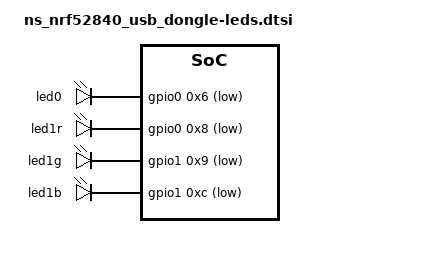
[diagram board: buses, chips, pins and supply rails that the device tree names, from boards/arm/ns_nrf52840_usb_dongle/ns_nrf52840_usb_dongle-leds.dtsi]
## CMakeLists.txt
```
#
# gp-nrf-ble-blinky
# Copyright (c) 2023, Greg PFISTER. MIT Licennse
#
# THE SOFTWARE IS PROVIDED "AS IS", WITHOUT WARRANTY OF ANY KIND, EXPRESS OR
# IMPLIED, INCLUDING BUT NOT LIMITED TO THE WARRANTIES OF MERCHANTABILITY,
# FITNESS FOR A PARTICULAR PURPOSE AND NONINFRINGEMENT.IN NO EVENT SHALL THE
# AUTHORS OR COPYRIGHT HOLDERS BE LIABLE FOR ANY CLAIM, DAMAGES OR OTHER
# LIABILITY, WHETHER IN AN ACTION OF CONTRACT, TORT OR OTHERWISE, ARISING FROM,
# OUT OF OR IN CONNECTION WITH THE SOFTWARE OR THE USE OR OTHER DEALINGS IN THE
# SOFTWARE.
#

zephyr_include_directories(include)

add_subdirectory(drivers)
add_subdirectory(lib)
```

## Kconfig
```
#
# gp-nrf-ble-blinky
# Copyright (c) 2023, Greg PFISTER. MIT Licennse
#
# THE SOFTWARE IS PROVIDED "AS IS", WITHOUT WARRANTY OF ANY KIND, EXPRESS OR
# IMPLIED, INCLUDING BUT NOT LIMITED TO THE WARRANTIES OF MERCHANTABILITY,
# FITNESS FOR A PARTICULAR PURPOSE AND NONINFRINGEMENT.IN NO EVENT SHALL THE
# AUTHORS OR COPYRIGHT HOLDERS BE LIABLE FOR ANY CLAIM, DAMAGES OR OTHER
# LIABILITY, WHETHER IN AN ACTION OF CONTRACT, TORT OR OTHERWISE, ARISING FROM,
# OUT OF OR IN CONNECTION WITH THE SOFTWARE OR THE USE OR OTHER DEALINGS IN THE
# SOFTWARE.
#

rsource "drivers/Kconfig"
rsource "lib/Kconfig"
```

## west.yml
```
#
# gp-nrf-ble-blinky
# Copyright (c) 2023, Greg PFISTER. MIT Licennse
#
# THE SOFTWARE IS PROVIDED "AS IS", WITHOUT WARRANTY OF ANY KIND, EXPRESS OR
# IMPLIED, INCLUDING BUT NOT LIMITED TO THE WARRANTIES OF MERCHANTABILITY,
# FITNESS FOR A PARTICULAR PURPOSE AND NONINFRINGEMENT.IN NO EVENT SHALL THE
# AUTHORS OR COPYRIGHT HOLDERS BE LIABLE FOR ANY CLAIM, DAMAGES OR OTHER
# LIABILITY, WHETHER IN AN ACTION OF CONTRACT, TORT OR OTHERWISE, ARISING FROM,
# OUT OF OR IN CONNECTION WITH THE SOFTWARE OR THE USE OR OTHER DEALINGS IN THE
# SOFTWARE.
#

manifest:
  version: 1.0

  self:
    path: app
    # west-commands: 
    # west-commands: scripts/west-commands.yml
    
  remotes:
    - name: ncs
      url-base: https://github.com/nrfconnect

  projects:
    - name: nrf
      remote: ncs
      repo-path: sdk-nrf
      revision: v2.5.0
      import: true
```

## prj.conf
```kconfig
#
# gp-nrf52840-ble-blinky
# Copyright (c) 2023, Greg PFISTER. MIT Licennse
#
# THE SOFTWARE IS PROVIDED "AS IS", WITHOUT WARRANTY OF ANY KIND, EXPRESS OR
# IMPLIED, INCLUDING BUT NOT LIMITED TO THE WARRANTIES OF MERCHANTABILITY,
# FITNESS FOR A PARTICULAR PURPOSE AND NONINFRINGEMENT.IN NO EVENT SHALL THE
# AUTHORS OR COPYRIGHT HOLDERS BE LIABLE FOR ANY CLAIM, DAMAGES OR OTHER
# LIABILITY, WHETHER IN AN ACTION OF CONTRACT, TORT OR OTHERWISE, ARISING FROM,
# OUT OF OR IN CONNECTION WITH THE SOFTWARE OR THE USE OR OTHER DEALINGS IN THE
# SOFTWARE.
#

# Led controller module
# CONFIG_BLE_CONTROLLER=y
# CONFIG_LED_CONTROLLER=y

# GPIO
CONFIG_GPIO=y

# Logging
CONFIG_LOG=y
CONFIG_LOG_BACKEND_RTT=y
CONFIG_LOG_BACKEND_UART=y

# Debugging
CONFIG_ASSERT=y

# Enable Bluetooth
CONFIG_BT=y
CONFIG_BT_PERIPHERAL=y
CONFIG_BT_DEVICE_NAME="Greg's nRF52840 Blinky"
CONFIG_BT_DEVICE_APPEARANCE=0
CONFIG_BT_MAX_CONN=1
CONFIG_BT_LL_SOFTDEVICE=y
CONFIG_BT_LOG_LEVEL_OFF=y

# Random number
CONFIG_ENTROPY_DEVICE_RANDOM_GENERATOR=y
```

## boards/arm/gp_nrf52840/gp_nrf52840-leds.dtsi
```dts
//
// gp-nrf-ble-blinky
// Copyright (c) 2023, Greg PFISTER. MIT Licennse
//
// THE SOFTWARE IS PROVIDED "AS IS", WITHOUT WARRANTY OF ANY KIND, EXPRESS OR
// IMPLIED, INCLUDING BUT NOT LIMITED TO THE WARRANTIES OF MERCHANTABILITY,
// FITNESS FOR A PARTICULAR PURPOSE AND NONINFRINGEMENT.IN NO EVENT SHALL THE
// AUTHORS OR COPYRIGHT HOLDERS BE LIABLE FOR ANY CLAIM, DAMAGES OR OTHER
// LIABILITY, WHETHER IN AN ACTION OF CONTRACT, TORT OR OTHERWISE, ARISING FROM,
// OUT OF OR IN CONNECTION WITH THE SOFTWARE OR THE USE OR OTHER DEALINGS IN THE
// SOFTWARE.
//

/ {

	aliases {
		ledblinky = &led0;
		ledble = &led1;
	};

	leds {
		compatible = "gpio-leds";
        led0: led_0 { // The blinky led
            gpios = < &gpio0 0xd 0x1 >;
        };
        led1: led_1 {
            gpios = < &gpio0 0xe 0x1 >;// The BT status led
        };

    };
};
```

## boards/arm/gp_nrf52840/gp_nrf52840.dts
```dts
//
// gp-nrf-ble-blinky
// Copyright (c) 2023, Greg PFISTER. MIT Licennse
//
// THE SOFTWARE IS PROVIDED "AS IS", WITHOUT WARRANTY OF ANY KIND, EXPRESS OR
// IMPLIED, INCLUDING BUT NOT LIMITED TO THE WARRANTIES OF MERCHANTABILITY,
// FITNESS FOR A PARTICULAR PURPOSE AND NONINFRINGEMENT.IN NO EVENT SHALL THE
// AUTHORS OR COPYRIGHT HOLDERS BE LIABLE FOR ANY CLAIM, DAMAGES OR OTHER
// LIABILITY, WHETHER IN AN ACTION OF CONTRACT, TORT OR OTHERWISE, ARISING FROM,
// OUT OF OR IN CONNECTION WITH THE SOFTWARE OR THE USE OR OTHER DEALINGS IN THE
// SOFTWARE.
//

/dts-v1/;
#include <nordic/nrf52840_qiaa.dtsi>
#include "ns_nrf52840_dk-leds.dtsi"

/ {
	model = "Greg's nRF52840";
	compatible = "nordic,nrf52840dk_nrf52840";

	chosen {
		zephyr,console = &uart0;
		zephyr,shell-uart = &uart0;
		zephyr,uart-mcumgr = &uart0;
		zephyr,bt-mon-uart = &uart0;
		zephyr,bt-c2h-uart = &uart0;
		zephyr,sram = &sram0;
		zephyr,flash = &flash0;
		zephyr,code-partition = &slot0_partition;
		zephyr,ieee802154 = &ieee802154;
	};
};

&gpio0 {
	status = "okay";
};


&flash0 {
	partitions {
		compatible = "fixed-partitions";
		#address-cells = <1>;
		#size-cells = <1>;

		boot_partition: partition@0 {
			label = "mcuboot";
			reg = <0x0 0xc000>;
		};
		slot0_partition: partition@c000 {
			label = "image-0";
			reg = <0xc000 0x72000>;
		};
		slot1_partition: partition@7e000 {
			label = "image-1";
			reg = <0x7e000 0x72000>;
		};
		scratch_partition: partition@f0000 {
			label = "image-scratch";
			reg = <0xf0000 0xa000>;
		};
		storage_partition: partition@fa000 {
			label = "storage";
			reg = <0xfa000 0x6000>;
		};
	};
};
```

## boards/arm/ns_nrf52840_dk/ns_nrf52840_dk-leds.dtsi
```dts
//
// gp-nrf-ble-blinky
// Copyright (c) 2023, Greg PFISTER. MIT Licennse
//
// THE SOFTWARE IS PROVIDED "AS IS", WITHOUT WARRANTY OF ANY KIND, EXPRESS OR
// IMPLIED, INCLUDING BUT NOT LIMITED TO THE WARRANTIES OF MERCHANTABILITY,
// FITNESS FOR A PARTICULAR PURPOSE AND NONINFRINGEMENT.IN NO EVENT SHALL THE
// AUTHORS OR COPYRIGHT HOLDERS BE LIABLE FOR ANY CLAIM, DAMAGES OR OTHER
// LIABILITY, WHETHER IN AN ACTION OF CONTRACT, TORT OR OTHERWISE, ARISING FROM,
// OUT OF OR IN CONNECTION WITH THE SOFTWARE OR THE USE OR OTHER DEALINGS IN THE
// SOFTWARE.
//

/ {

	aliases {
		ledblinky = &led0;
		ledbtstatus = &led1;
	};

	leds {
		compatible = "gpio-leds";
        led0: led_0 { // The blinky led
            gpios = < &gpio0 0xd 0x1 >;
        };
        led1: led_1 {
            gpios = < &gpio0 0xe 0x1 >;// The BT status led
        };

    };
};
```

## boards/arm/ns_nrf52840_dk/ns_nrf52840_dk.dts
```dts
//
// gp-nrf-ble-blinky
// Copyright (c) 2023, Greg PFISTER. MIT Licennse
//
// THE SOFTWARE IS PROVIDED "AS IS", WITHOUT WARRANTY OF ANY KIND, EXPRESS OR
// IMPLIED, INCLUDING BUT NOT LIMITED TO THE WARRANTIES OF MERCHANTABILITY,
// FITNESS FOR A PARTICULAR PURPOSE AND NONINFRINGEMENT.IN NO EVENT SHALL THE
// AUTHORS OR COPYRIGHT HOLDERS BE LIABLE FOR ANY CLAIM, DAMAGES OR OTHER
// LIABILITY, WHETHER IN AN ACTION OF CONTRACT, TORT OR OTHERWISE, ARISING FROM,
// OUT OF OR IN CONNECTION WITH THE SOFTWARE OR THE USE OR OTHER DEALINGS IN THE
// SOFTWARE.
//

/dts-v1/;
#include <nordic/nrf52840_qiaa.dtsi>
#include "ns_nrf52840_dk-leds.dtsi"

/ {
	model = "NS nRF52840 DK";
	compatible = "nordic,nrf52840dk_nrf52840";

	chosen {
		zephyr,console = &uart0;
		zephyr,shell-uart = &uart0;
		zephyr,uart-mcumgr = &uart0;
		zephyr,bt-mon-uart = &uart0;
		zephyr,bt-c2h-uart = &uart0;
		zephyr,sram = &sram0;
		zephyr,flash = &flash0;
		zephyr,code-partition = &slot0_partition;
		zephyr,ieee802154 = &ieee802154;
	};
};

&gpio0 {
	status = "okay";
};


&flash0 {
	partitions {
		compatible = "fixed-partitions";
		#address-cells = <1>;
		#size-cells = <1>;

		boot_partition: partition@0 {
			label = "mcuboot";
			reg = <0x0 0xc000>;
		};
		slot0_partition: partition@c000 {
			label = "image-0";
			reg = <0xc000 0x72000>;
		};
		slot1_partition: partition@7e000 {
			label = "image-1";
			reg = <0x7e000 0x72000>;
		};
		scratch_partition: partition@f0000 {
			label = "image-scratch";
			reg = <0xf0000 0xa000>;
		};
		storage_partition: partition@fa000 {
			label = "storage";
			reg = <0xfa000 0x6000>;
		};
	};
};
```

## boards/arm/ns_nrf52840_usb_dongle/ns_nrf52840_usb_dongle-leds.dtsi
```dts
//
// gp-nrf-ble-blinky
// Copyright (c) 2023, Greg PFISTER. MIT Licennse
//
// THE SOFTWARE IS PROVIDED "AS IS", WITHOUT WARRANTY OF ANY KIND, EXPRESS OR
// IMPLIED, INCLUDING BUT NOT LIMITED TO THE WARRANTIES OF MERCHANTABILITY,
// FITNESS FOR A PARTICULAR PURPOSE AND NONINFRINGEMENT.IN NO EVENT SHALL THE
// AUTHORS OR COPYRIGHT HOLDERS BE LIABLE FOR ANY CLAIM, DAMAGES OR OTHER
// LIABILITY, WHETHER IN AN ACTION OF CONTRACT, TORT OR OTHERWISE, ARISING FROM,
// OUT OF OR IN CONNECTION WITH THE SOFTWARE OR THE USE OR OTHER DEALINGS IN THE
// SOFTWARE.
//

/ {

	aliases {
		ledblinky = &led0;
		ledbtstatusr = &led1r;
		ledbtstatusg = &led1g;
		ledbtstatusb = &led1b;
	};

	leds {
		compatible = "gpio-leds";
        led0: led_0 { // The blinky led
            gpios = < &gpio0 0x6 0x1 >;
        };
        led1r: led_1r {
            gpios = < &gpio0 0x8 0x1 >;// The BT status led
        };
        led1g: led_1g {
            gpios = < &gpio1 0x9 0x1 >;// The BT status led
        };
        led1b: led_1b {
            gpios = < &gpio1 0xc 0x1 >;// The BT status led
        };

    };
};
```

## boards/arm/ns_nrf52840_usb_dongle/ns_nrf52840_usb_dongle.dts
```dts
//
// gp-nrf-ble-blinky
// Copyright (c) 2023, Greg PFISTER. MIT Licennse
//
// THE SOFTWARE IS PROVIDED "AS IS", WITHOUT WARRANTY OF ANY KIND, EXPRESS OR
// IMPLIED, INCLUDING BUT NOT LIMITED TO THE WARRANTIES OF MERCHANTABILITY,
// FITNESS FOR A PARTICULAR PURPOSE AND NONINFRINGEMENT.IN NO EVENT SHALL THE
// AUTHORS OR COPYRIGHT HOLDERS BE LIABLE FOR ANY CLAIM, DAMAGES OR OTHER
// LIABILITY, WHETHER IN AN ACTION OF CONTRACT, TORT OR OTHERWISE, ARISING FROM,
// OUT OF OR IN CONNECTION WITH THE SOFTWARE OR THE USE OR OTHER DEALINGS IN THE
// SOFTWARE.
//

/dts-v1/;
#include <nordic/nrf52840_qiaa.dtsi>
#include "ns_nrf52840_usb_dongle-leds.dtsi"

/ {
	model = "NS nRF52840 USB Dongle";
	compatible = "nordic-semiconductor,ns-nrf52840-usb-dongle";

	chosen {
		zephyr,console = &uart0;
		zephyr,shell-uart = &uart0;
		zephyr,uart-mcumgr = &uart0;
		zephyr,bt-mon-uart = &uart0;
		zephyr,bt-c2h-uart = &uart0;
		zephyr,sram = &sram0;
		zephyr,flash = &flash0;
		zephyr,code-partition = &slot0_partition;
		zephyr,ieee802154 = &ieee802154;
	};
};

&gpio0 {
	status = "okay";
};

&gpio1 {
	status = "okay";
};

&flash0 {
	partitions {
		compatible = "fixed-partitions";
		#address-cells = <1>;
		#size-cells = <1>;

		boot_partition: partition@0 {
			label = "mcuboot";
			reg = <0x0 0xc000>;
		};
		slot0_partition: partition@c000 {
			label = "image-0";
			reg = <0xc000 0x72000>;
		};
		slot1_partition: partition@7e000 {
			label = "image-1";
			reg = <0x7e000 0x72000>;
		};
		scratch_partition: partition@f0000 {
			label = "image-scratch";
			reg = <0xf0000 0xa000>;
		};
		storage_partition: partition@fa000 {
			label = "storage";
			reg = <0xfa000 0x6000>;
		};
	};
};
```

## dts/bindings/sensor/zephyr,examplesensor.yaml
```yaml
#
# gp-nrf-ble-blinky
# Copyright (c) 2023, Greg PFISTER. MIT Licennse
#
# THE SOFTWARE IS PROVIDED "AS IS", WITHOUT WARRANTY OF ANY KIND, EXPRESS OR
# IMPLIED, INCLUDING BUT NOT LIMITED TO THE WARRANTIES OF MERCHANTABILITY,
# FITNESS FOR A PARTICULAR PURPOSE AND NONINFRINGEMENT.IN NO EVENT SHALL THE
# AUTHORS OR COPYRIGHT HOLDERS BE LIABLE FOR ANY CLAIM, DAMAGES OR OTHER
# LIABILITY, WHETHER IN AN ACTION OF CONTRACT, TORT OR OTHERWISE, ARISING FROM,
# OUT OF OR IN CONNECTION WITH THE SOFTWARE OR THE USE OR OTHER DEALINGS IN THE
# SOFTWARE.
#

description: |
  An example sensor that reads the GPIO level defined in input-gpios. The
  purpose of this sensor is to demonstrate how to create out-of-tree drivers.

  Example definition in devicetree:

    examplesensor {
        compatible = "zephyr,examplesensor";
        input-gpios = <&gpio0 0 (GPIO_PULL_UP | GPIO_ACTIVE_LOW)>;
    };

compatible: "zephyr,examplesensor"

include: base.yaml

properties:
  input-gpios:
    type: phandle-array
    required: true
    description: Input GPIO to be sensed.
```

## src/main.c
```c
//
// gp-nrf52840-ble-blinky
// Copyright (c) 2023, Greg PFISTER. MIT Licennse
//
// THE SOFTWARE IS PROVIDED "AS IS", WITHOUT WARRANTY OF ANY KIND, EXPRESS OR
// IMPLIED, INCLUDING BUT NOT LIMITED TO THE WARRANTIES OF MERCHANTABILITY,
// FITNESS FOR A PARTICULAR PURPOSE AND NONINFRINGEMENT.IN NO EVENT SHALL THE
// AUTHORS OR COPYRIGHT HOLDERS BE LIABLE FOR ANY CLAIM, DAMAGES OR OTHER
// LIABILITY, WHETHER IN AN ACTION OF CONTRACT, TORT OR OTHERWISE, ARISING FROM,
// OUT OF OR IN CONNECTION WITH THE SOFTWARE OR THE USE OR OTHER DEALINGS IN THE
// SOFTWARE.
//

#include <zephyr/kernel.h>
#include <zephyr/logging/log.h>

#include <app_version.h>

// #include <ble_controller/ble_controller.h>
// #include <led_controller/led_controller.h>

#include "controllers/ble_controller.h"
#include "controllers/led_controller.h"

/* Logger *********************************************************************/

LOG_MODULE_REGISTER(main, CONFIG_LOG_DEFAULT_LEVEL);

/* Declarations ***************************************************************/

void printInfo();
void on_blinky_led_selected_sequence_changed_cb(const uint8_t *led_sequence);
void on_blinky_led_status_changed_cb(const uint8_t *led_status);
void on_ble_central_connected_cb();
void on_ble_central_disconnected_cb();
const uint8_t *on_ble_central_read_blinky_led_selected_sequence_cb();
const uint8_t *on_ble_central_read_blinky_led_status_cb();
void on_ble_central_write_blinky_led_selected_sequence_cb(const uint8_t *led_sequence);

/* Main ***********************************************************************/

int main(void)
{
    // Print informations about the app
    printInfo();

    // Define variables
    int ret;

    // Initialise the leds
    struct led_controller_cb led_controller_cb = {
        .on_blinky_led_selected_sequence_changed = on_blinky_led_selected_sequence_changed_cb,
        .on_blinky_led_status_changed = on_blinky_led_status_changed_cb,
    };
    ret = led_controller_init(&led_controller_cb);
    if (ret < 0) {
        return -1;
    }

    // Initializing BLE
    struct ble_controller_cb ble_controller_cb = {
        .on_connect = on_ble_central_connected_cb,
        .on_connect = on_ble_central_disconnected_cb,
        .on_read_blinky_led_selected_sequence = on_ble_central_read_blinky_led_selected_sequence_cb,
        .on_read_blinky_led_status = on_ble_central_read_blinky_led_status_cb,
        .on_write_blinky_led_selected_sequence = on_ble_central_write_blinky_led_selected_sequence_cb,
    };
    ret = ble_controller_init(&ble_controller_cb);
    if (ret < 0) {
        return -2;
    }

    // Main loop
    while (1) {
        ret = led_controller_run_sequence();
        if (ret < 0) {
            LOG_WRN("Exiting main loop because of an error");
            break;
        }
    }

    k_msleep(1000);
    return 0;
}

/* Informations ***************************************************************/

void printInfo()
{
    uint32_t ver = sys_kernel_version_get();
    LOG_INF("Welcome to BLE Blinky Peripheral");
    LOG_INF("Copyright (c) 2023, Greg PFISTER. MIT License.");
    LOG_INF("Firmware version: %s", APP_VERSION_STRING);
    LOG_INF("Target board: %s", CONFIG_BOARD);
    LOG_INF("Zephy Kernel version: %i.%i.%i", SYS_KERNEL_VER_MAJOR(ver), SYS_KERNEL_VER_MINOR(ver),
            SYS_KERNEL_VER_PATCHLEVEL(ver));
}

/* Led Controller Callbacks ***************************************************/

void on_blinky_led_selected_sequence_changed_cb(const uint8_t *led_sequence)
{
    ble_controller_update_blinky_led_sequence_value(led_sequence);
}

void on_blinky_led_status_changed_cb(const uint8_t *led_status)
{
    ble_controller_update_blinky_led_status_value(led_status);
}

/* BLE Controller Callbacks ***************************************************/

void on_ble_central_connected_cb()
{
    LOG_INF("BLE - Central device connected");
    led_controller_set_bt_connected();
}

void on_ble_central_disconnected_cb()
{
    LOG_INF("Central device disconnected");
    led_controller_unset_bt_connected();
}

const uint8_t *on_ble_central_read_blinky_led_selected_sequence_cb()
{
    LOG_INF("BLE - Reading selected blinky led sequence value");
    return led_controller_get_selected_led_sequence();
}

const uint8_t *on_ble_central_read_blinky_led_status_cb()
{
    LOG_INF("BLE - Reading selected blinky led status");
    return led_controller_get_led_status();
}

void on_ble_central_write_blinky_led_selected_sequence_cb(const uint8_t *led_sequence)
{
    LOG_INF("BLE - New selected sequence for blinkty led: %i", *led_sequence);
    led_controller_set_selected_led_sequence(led_sequence);
}
```
